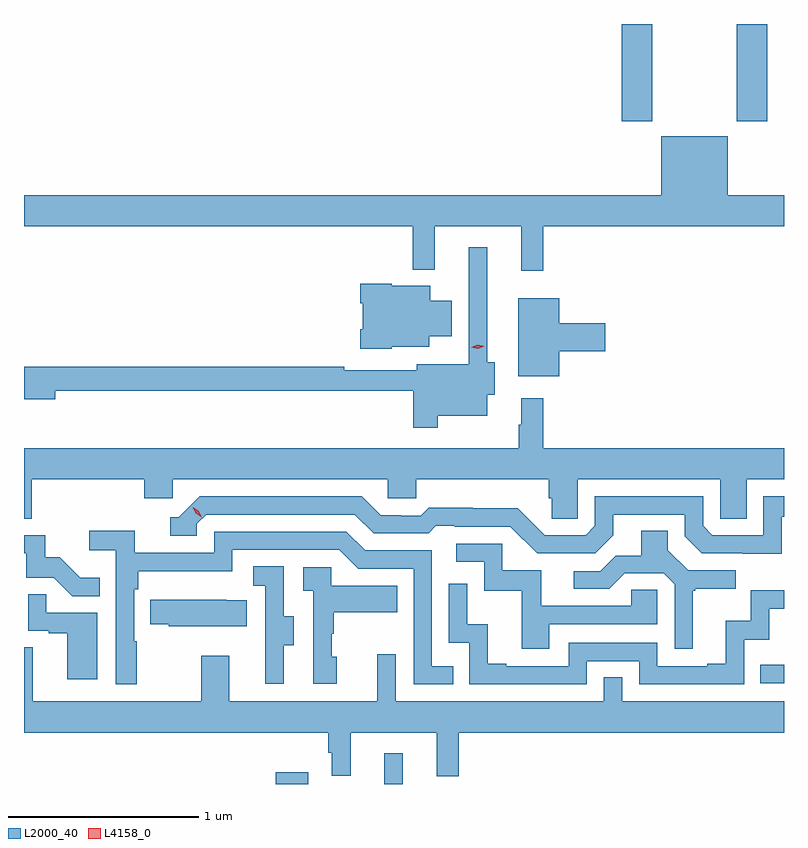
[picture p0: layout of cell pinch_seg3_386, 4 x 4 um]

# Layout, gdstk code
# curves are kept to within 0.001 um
import gdstk
lib = gdstk.Library(unit=1e-6, precision=1e-09)
def R(c, l, rs):  # rectangles x0, y0, x1, y1
    for r in rs: c.add(gdstk.rectangle(r[:2], r[2:], *l))
def P(c, l, *ps):  # polygons
    for p in ps: c.add(gdstk.Polygon(p, *l))
L2000_40 = (2000, 40)
L4158_0 = (4158, 0)

pinch_seg3_386 = lib.new_cell('pinch_seg3_386')
R(pinch_seg3_386, L2000_40, [(926.348,688.657,926.518,688.72), (926.919,688.657,927.016,688.819), (928.897,689.187,929.022,689.284), (928.169,692.145,928.329,692.657), (928.774,692.145,928.934,692.657)])
P(pinch_seg3_386, L2000_40, [(927.755,691.592),(929.022,691.592),(929.022,691.756),(928.726,691.756),(928.726,692.065),(928.376,692.065),(928.376,691.756),(925.022,691.756),(925.022,691.592),(927.067,691.592),(927.067,691.364),(927.185,691.364),(927.185,691.592),(927.638,691.592),(927.638,691.359),(927.755,691.359)],
  [(927.199,690.596),(927.46,690.596),(927.46,690.707),(927.499,690.707),(927.499,690.878),(927.46,690.878),(927.46,691.483),(927.363,691.483),(927.363,690.865),(927.089,690.865),(927.089,690.834),(926.708,690.834),(926.708,690.854),(925.022,690.854),(925.022,690.683),(925.186,690.683),(925.186,690.726),(927.07,690.726),(927.07,690.531),(927.199,690.531)],
  [(926.958,690.959),(927.154,690.959),(927.154,691.013),(927.274,691.013),(927.274,691.201),(927.16,691.201),(927.16,691.279),(926.958,691.279),(926.958,691.291),(926.792,691.291),(926.792,691.187),(926.804,691.187),(926.804,691.051),(926.792,691.051),(926.792,690.947),(926.958,690.947)],
  [(927.838,690.935),(928.081,690.935),(928.081,691.082),(927.838,691.082),(927.838,691.213),(927.623,691.213),(927.623,690.803),(927.838,690.803)],
  [(925.064,690.26),(925.655,690.26),(925.655,690.162),(925.806,690.162),(925.806,690.26),(926.937,690.26),(926.937,690.162),(927.087,690.162),(927.087,690.26),(927.785,690.26),(927.785,690.162),(927.799,690.162),(927.799,690.052),(927.936,690.052),(927.936,690.26),(928.686,690.26),(928.686,690.052),(928.825,690.052),(928.825,690.26),(929.022,690.26),(929.022,690.424),(927.755,690.424),(927.755,690.688),(927.638,690.688),(927.638,690.548),(927.627,690.548),(927.627,690.424),(925.022,690.424),(925.022,690.052),(925.064,690.052)],
  [(929.011,690.063),(929.022,690.063),(929.022,690.171),(928.914,690.171),(928.914,689.967),(928.644,689.967),(928.596,690.015),(928.596,690.171),(928.026,690.171),(928.026,690.015),(927.978,689.967),(927.762,689.967),(927.62,690.109),(927.384,690.109),(927.384,690.112),(927.151,690.112),(927.109,690.069),(927.006,690.069),(927.006,690.072),(926.899,690.072),(926.8,690.171),(925.947,690.171),(925.836,690.06),(925.793,690.06),(925.793,689.964),(925.932,689.964),(925.932,690.027),(925.98,690.075),(926.763,690.075),(926.862,689.976),(927.151,689.976),(927.19,690.015),(927.289,690.015),(927.289,690.012),(927.582,690.012),(927.723,689.871),(928.029,689.871),(928.123,689.965),(928.123,690.075),(928.5,690.075),(928.5,689.961),(928.59,689.871),(929.011,689.87)],
  [(925.615,689.408),(925.602,689.408),(925.602,689.681),(925.622,689.681),(925.622,689.777),(926.118,689.777),(926.118,689.889),(926.682,689.889),(926.781,689.79),(927.072,689.79),(927.072,689.181),(927.281,689.181),(927.281,689.277),(927.168,689.277),(927.168,689.886),(926.818,689.886),(926.719,689.985),(926.022,689.985),(926.022,689.874),(925.604,689.874),(925.604,689.99),(925.365,689.99),(925.365,689.888),(925.506,689.888),(925.506,689.181),(925.615,689.181)],
  [(928.543,689.673),(928.555,689.673),(928.555,689.684),(928.768,689.684),(928.768,689.781),(928.518,689.781),(928.411,689.888),(928.411,689.99),(928.271,689.99),(928.271,689.858),(928.136,689.858),(928.056,689.778),(927.915,689.778),(927.915,689.685),(928.102,689.685),(928.183,689.766),(928.389,689.766),(928.446,689.709),(928.446,689.37),(928.543,689.37)],
  [(925.421,689.743),(925.317,689.743),(925.21,689.85),(925.134,689.85),(925.134,689.967),(925.022,689.967),(925.022,689.871),(925.035,689.871),(925.035,689.742),(925.179,689.742),(925.277,689.644),(925.421,689.644)],
  [(927.787,689.499),(928.356,689.499),(928.356,689.679),(928.219,689.679),(928.219,689.595),(927.745,689.595),(927.745,689.781),(927.54,689.781),(927.54,689.922),(927.297,689.922),(927.297,689.826),(927.444,689.826),(927.444,689.673),(927.643,689.673),(927.643,689.37),(927.787,689.37)],
  [(926.389,689.386),(926.443,689.386),(926.443,689.541),(926.388,689.541),(926.388,689.804),(926.229,689.804),(926.229,689.701),(926.292,689.701),(926.292,689.397),(926.291,689.397),(926.291,689.184),(926.389,689.184)],
  [(926.668,689.328),(926.643,689.328),(926.643,689.447),(926.653,689.447),(926.653,689.561),(926.987,689.561),(926.987,689.701),(926.64,689.701),(926.64,689.799),(926.493,689.799),(926.493,689.675),(926.544,689.675),(926.544,689.184),(926.668,689.184)],
  [(927.984,689.304),(928.26,689.304),(928.26,689.181),(928.812,689.181),(928.812,689.417),(928.944,689.417),(928.944,689.58),(929.022,689.58),(929.022,689.676),(928.848,689.676),(928.848,689.515),(928.715,689.515),(928.715,689.29),(928.619,689.29),(928.619,689.277),(928.356,689.277),(928.356,689.4),(927.888,689.4),(927.888,689.277),(927.559,689.277),(927.559,689.29),(927.464,689.29),(927.464,689.498),(927.354,689.498),(927.354,689.71),(927.258,689.71),(927.258,689.4),(927.366,689.4),(927.366,689.181),(927.984,689.181)],
  [(925.408,689.559),(925.139,689.559),(925.139,689.657),(925.044,689.657),(925.044,689.463),(925.151,689.463),(925.151,689.451),(925.25,689.451),(925.25,689.208),(925.408,689.208)],
  [(926.195,689.623),(926.087,689.623),(926.087,689.626),(925.687,689.626),(925.687,689.497),(925.785,689.497),(925.785,689.486),(926.195,689.486)],
  [(927.311,688.928),(929.022,688.928),(929.022,689.092),(928.17,689.092),(928.17,689.219),(928.074,689.219),(928.074,689.092),(926.979,689.092),(926.979,689.341),(926.882,689.341),(926.882,689.092),(926.101,689.092),(926.101,689.332),(925.954,689.332),(925.954,689.092),(925.069,689.092),(925.069,689.378),(925.022,689.378),(925.022,688.928),(926.623,688.928),(926.623,688.821),(926.643,688.821),(926.643,688.7),(926.741,688.7),(926.741,688.928),(927.194,688.928),(927.194,688.699),(927.311,688.699)])
P(pinch_seg3_386, L4158_0, [(927.41,690.948),(927.375,690.957),(927.374,690.957),(927.375,690.957),(927.409,690.968),(927.445,690.96),(927.445,690.96),(927.445,690.96)],
  [(925.957,690.062),(925.926,690.081),(925.909,690.113),(925.909,690.114),(925.909,690.114),(925.94,690.094),(925.957,690.062),(925.957,690.062)])

lib.write_gds('pinch_seg3_386.gds')
